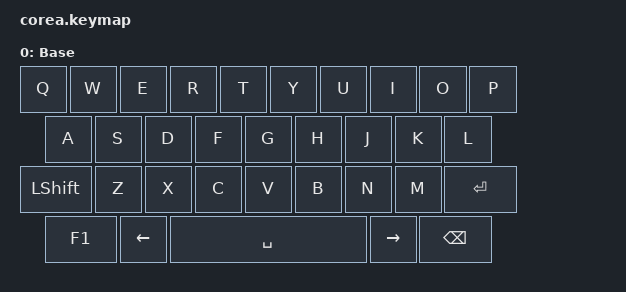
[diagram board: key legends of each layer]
#include <behaviors.dtsi>
#include <dt-bindings/zmk/keys.h>

/ {
    keymap {
        compatible = "zmk,keymap";

        default_layer {
            display-name = "Base";
            bindings = <
                &kp Q      &kp W      &kp E      &kp R      &kp T      &kp Y      &kp U      &kp I      &kp O      &kp P
                &kp A      &kp S      &kp D      &kp F      &kp G      &kp H      &kp J      &kp K      &kp L
                &kp LSHIFT &kp Z      &kp X      &kp C      &kp V      &kp B      &kp N      &kp M      &kp ENTER
                &kp F1     &kp LEFT   &kp SPACE  &kp RIGHT  &kp BSPC
            >;
        };
    };
};
